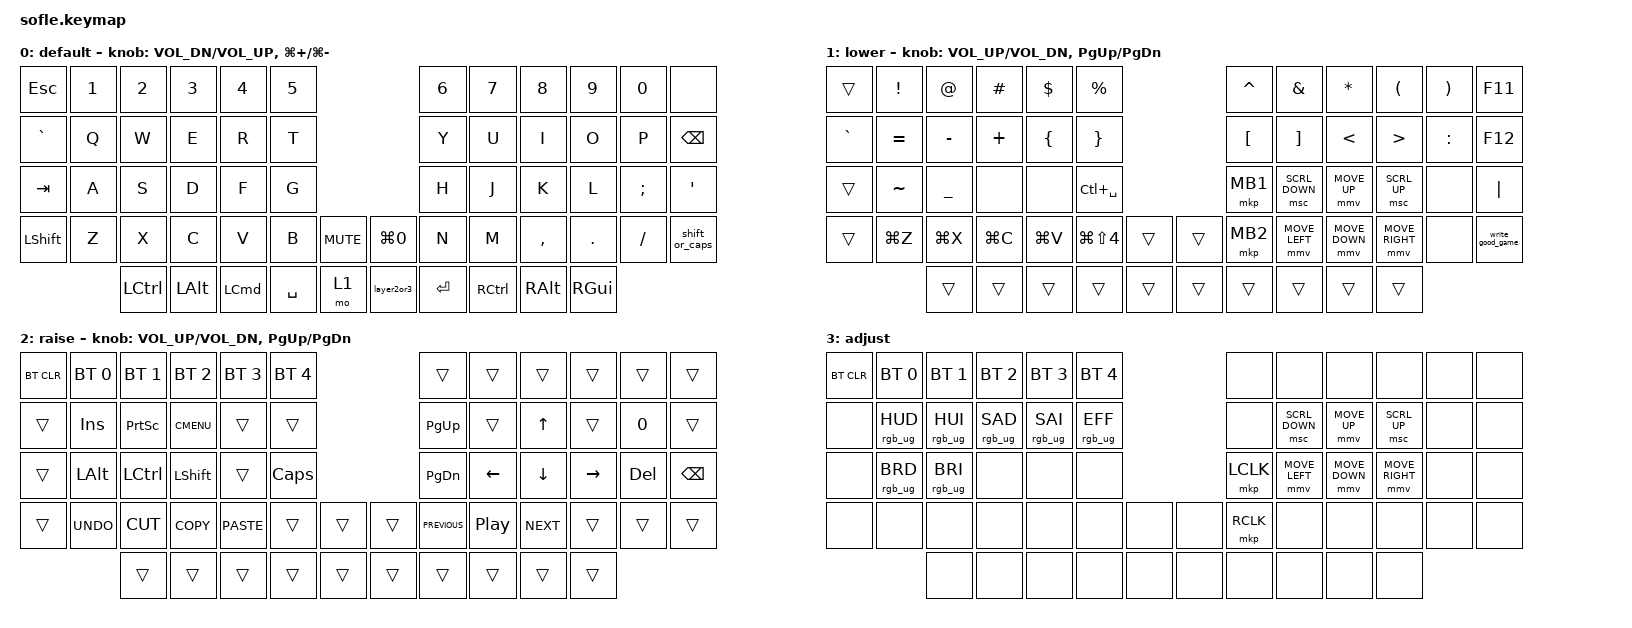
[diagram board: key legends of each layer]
/*
 * Copyright (c) 2020 The ZMK Contributors
 *
 * SPDX-License-Identifier: MIT
 */

#define ZMK_POINTING_DEFAULT_MOVE_VAL 1500  // default: 600
#define ZMK_POINTING_DEFAULT_SCRL_VAL 20    // default: 10

#include <behaviors.dtsi>
#include <dt-bindings/zmk/bt.h>
#include <dt-bindings/zmk/keys.h>
#include <dt-bindings/zmk/pointing.h>
#include <dt-bindings/zmk/rgb.h>

#define BASE 0
#define LOWER 1
#define RAISE 2
#define ADJUST 3

/ {
    // Activate ADJUST layer by pressing raise and lower

    conditional_layers {
        compatible = "zmk,conditional-layers";

        adjust_layer {
            if-layers = <LOWER RAISE>;
            then-layer = <ADJUST>;
        };
    };

    macros {
        write_good_game: gg {
            compatible = "zmk,behavior-macro";
            #binding-cells = <0>;
            bindings = <&kp LS(G) &kp LS(G) &kp SPACE &kp I &kp Z &kp I &kp ENTER>;
            label = "GG";
        };
    };

    behaviors {
        kp_tap_or_hold: kp_tap_or_hold {
            compatible = "zmk,behavior-hold-tap";
            label = "KP_TAP_OR_HOLD";
            bindings = <&kp>, <&kp>;

            #binding-cells = <2>;
            tapping-term-ms = <200>;
            flavor = "tap-preferred";
        };

        shift_or_caps: shift_or_caps {
            compatible = "zmk,behavior-tap-dance";
            label = "SHIFT_OR_CAPS";
            #binding-cells = <0>;
            bindings = <&kp RSHIFT>, <&kp CAPSLOCK>;
        };

        layer2or3: layer2or3 {
            compatible = "zmk,behavior-tap-dance";
            label = "LAYER2OR3";
            #binding-cells = <0>;
            bindings = <&mo 2>, <&mo 3>;

            tapping-term-ms = <200>;
        };
    };

    keymap {
        compatible = "zmk,keymap";

        default_layer {
            display-name = "default";

            // ------------------------------------------------------------------------------------------------------------
            // |   `   |  1  |  2  |  3   |  4   |  5   |                   |  6   |  7    |  8    |  9   |   0   |       |
            // |  ESC  |  Q  |  W  |  E   |  R   |  T   |                   |  Y   |  U    |  I    |  O   |   P   | BKSPC |
            // |  TAB  |  A  |  S  |  D   |  F   |  G   |                   |  H   |  J    |  K    |  L   |   ;   |   '   |
            // | SHIFT |  Z  |  X  |  C   |  V   |  B   |  MUTE  |  |       |  N   |  M    |  ,    |  .   |   /   | SHIFT |
            //               | GUI | ALT  | CTRL | LOWER|  ENTER |  | SPACE | RAISE| CTRL  | ALT   | GUI  |

            bindings = <
&kp ESC    &kp N1  &kp N2            &kp N3    &kp N4            &kp N5                               &kp N6     &kp N7     &kp N8     &kp N9    &kp N0    &none
&kp GRAVE  &kp Q   &kp W             &kp E     &kp R             &kp T                                &kp Y      &kp U      &kp I      &kp O     &kp P     &kp BSPC
&kp TAB    &kp A   &kp S             &kp D     &kp F             &kp G                                &kp H      &kp J      &kp K      &kp L     &kp SEMI  &kp SQT
&kp LSHFT  &kp Z   &kp X             &kp C     &kp V             &kp B      &kp C_MUTE    &kp LG(N0)  &kp N      &kp M      &kp COMMA  &kp DOT   &kp FSLH  &shift_or_caps
                   &kp LEFT_CONTROL  &kp LALT  &kp LEFT_COMMAND  &kp SPACE  &mo 1         &layer2or3  &kp ENTER  &kp RCTRL  &kp RALT   &kp RGUI
            >;

            sensor-bindings =
                <&inc_dec_kp C_VOL_DN C_VOL_UP>,
                <&inc_dec_kp LG(PLUS) LG(MINUS)>;
        };

        lower_layer {
            display-name = "lower";

            // TODO: Some binds are waiting for shifted keycode support.
            // ------------------------------------------------------------------------------------------------------------
            // |       |  F1 |  F2 |  F3  |  F4  |  F5  |                   |  F6  |  F7   |  F8   |  F9  |  F10  |  F11  |
            // |   `   |  1  |  2  |  3   |  4   |  5   |                   |  6   |  7    |  8    |  9   |   0   |  F12  |
            // |       |  !  |  @  |  #   |  $   |  %   |                   |  ^   |  &    |  *    |  (   |   )   |   |   |
            // |       |  =  |  -  |  +   |  {   |  }   |        |  |       |  [   |  ]    |  ;    |  :   |   \   |       |
            //               |     |      |      |      |        |  |       |      |       |       |      |

            bindings = <
&trans     &kp EXCL   &kp AT     &kp HASH   &kp DOLLAR      &kp PERCENT                             &kp CARET         &kp AMPERSAND      &kp ASTRK       &kp LEFT_PARENTHESIS  &kp RIGHT_PARENTHESIS  &kp F11
&kp GRAVE  &kp EQUAL  &kp MINUS  &kp PLUS   &kp LEFT_BRACE  &kp RIGHT_BRACE                         &kp LEFT_BRACKET  &kp RIGHT_BRACKET  &kp LESS_THAN   &kp GREATER_THAN      &kp COLON              &kp F12
&trans     &kp TILDE  &kp UNDER  &none      &none           &kp LC(SPACE)                           &mkp MB1          &msc SCRL_DOWN     &mmv MOVE_UP    &msc SCRL_UP          &none                  &kp PIPE
&trans     &kp LG(Z)  &kp LG(X)  &kp LG(C)  &kp LG(V)       &kp LG(LS(NUMBER_4))  &trans    &trans  &mkp MB2          &mmv MOVE_LEFT     &mmv MOVE_DOWN  &mmv MOVE_RIGHT       &none                  &write_good_game
                      &trans     &trans     &trans          &trans                &trans    &trans  &trans            &trans             &trans          &trans
            >;

            sensor-bindings = <&inc_dec_kp C_VOL_UP C_VOL_DN &inc_dec_kp PG_UP PG_DN>;
        };

        raise_layer {
            display-name = "raise";

            // ------------------------------------------------------------------------------------------------------------
            // | BTCLR | BT1  | BT2  |  BT3  |  BT4  |  BT5 |                |      |      |       |      |       |       |
            // |       | INS  | PSCR | GUI   |       |      |                | PGUP |      |   ^   |      |       |       |
            // |       | ALT  | CTRL | SHIFT |       | CAPS |                | PGDN |   <- |   v   |  ->  |  DEL  | BKSPC |
            // |       | UNDO | CUT  | COPY  | PASTE |      |      |  |      |      |      |       |      |       |       |
            //                |      |       |       |      |      |  |      |      |      |       |      |

            bindings = <
&bt BT_CLR  &bt BT_SEL 0  &bt BT_SEL 1  &bt BT_SEL 2  &bt BT_SEL 3  &bt BT_SEL 4                    &trans          &trans            &trans      &trans     &trans   &trans
&trans      &kp INS       &kp PSCRN     &kp K_CMENU   &trans        &trans                          &kp PG_UP       &trans            &kp UP      &trans     &kp N0   &trans
&trans      &kp LALT      &kp LCTRL     &kp LSHFT     &trans        &kp CLCK                        &kp PG_DN       &kp LEFT          &kp DOWN    &kp RIGHT  &kp DEL  &kp BSPC
&trans      &kp K_UNDO    &kp K_CUT     &kp K_COPY    &kp K_PASTE   &trans        &trans    &trans  &kp C_PREVIOUS  &kp C_PLAY_PAUSE  &kp C_NEXT  &trans     &trans   &trans
                          &trans        &trans        &trans        &trans        &trans    &trans  &trans          &trans            &trans      &trans
            >;

            sensor-bindings = <&inc_dec_kp C_VOL_UP C_VOL_DN &inc_dec_kp PG_UP PG_DN>;
        };

        adjust_layer {
            // ----------------------------------------------------------------------------------------------------------------------------
            // | BTCLR  |  BT1    |  BT2    |   BT3   |   BT4   |   BT5   |                  |      |      |       |      |       |       |
            // | EXTPWR | RGB_HUD | RGB_HUI | RGB_SAD | RGB_SAI | RGB_EFF |                  |      |      |       |      |       |       |
            // |        | RGB_BRD | RGB_BRI |         |         |         |                  |      |      |       |      |       |       |
            // |        |         |         |         |         |         | RGB_TOG | |      |      |      |       |      |       |       |
            //                    |         |         |         |         |         | |      |      |      |       |      |

            display-name = "adjust";
            bindings = <
&bt BT_CLR  &bt BT_SEL 0     &bt BT_SEL 1     &bt BT_SEL 2     &bt BT_SEL 3     &bt BT_SEL 4                     &none      &none           &none           &none            &none  &none
&none       &rgb_ug RGB_HUD  &rgb_ug RGB_HUI  &rgb_ug RGB_SAD  &rgb_ug RGB_SAI  &rgb_ug RGB_EFF                  &none      &msc SCRL_DOWN  &mmv MOVE_UP    &msc SCRL_UP     &none  &none
&none       &rgb_ug RGB_BRD  &rgb_ug RGB_BRI  &none            &none            &none                            &mkp LCLK  &mmv MOVE_LEFT  &mmv MOVE_DOWN  &mmv MOVE_RIGHT  &none  &none
&none       &none            &none            &none            &none            &none            &none    &none  &mkp RCLK  &none           &none           &none            &none  &none
                             &none            &none            &none            &none            &none    &none  &none      &none           &none           &none
            >;
        };
    };
};
